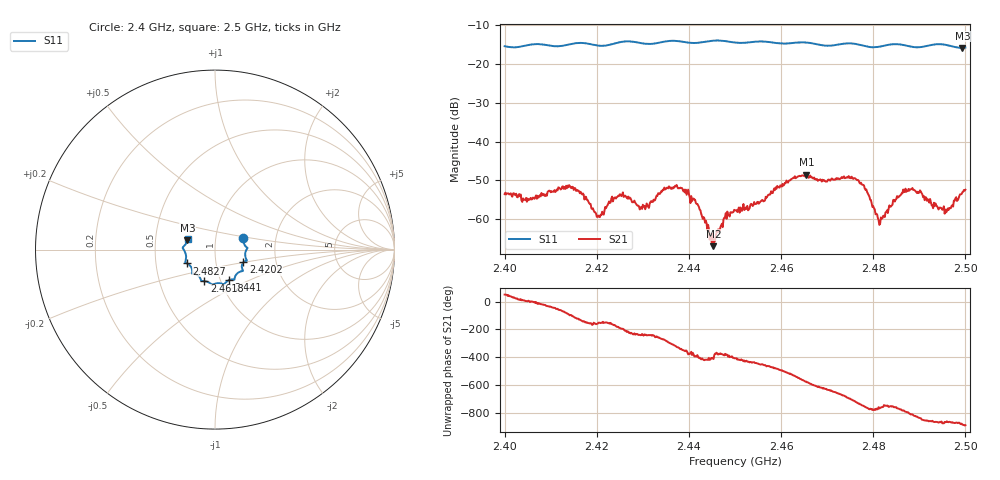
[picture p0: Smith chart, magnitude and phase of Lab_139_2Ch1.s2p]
# Hz S RI R
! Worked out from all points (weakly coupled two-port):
!   601 points, 2.4 GHz to 2.5 GHz, reference 50 ohm
!   highest |S21| = -48.58 dB at 2.4655 GHz (marker M1); lowest = -67.0 dB at 2.4453 GHz (marker M2)
!   lowest |S11| = -15.8 dB at 2.4993 GHz (marker M3), VSWR 1.39, Z = 36.5 + j3.84 ohm
!   |S11| at or under -10 dB: start of sweep to end of sweep
!   S12 and S22 are empty: the file has one direction only
!   S11 on the Smith chart (normalised r, x): 2.4 GHz: 1.36, +0.18; 2.4202 GHz: 1.36, -0.20; 2.441 GHz: 1.10, -0.39; 2.4618 GHz: 0.84, -0.30; 2.4827 GHz: 0.72, -0.11; 2.5 GHz: 0.73, +0.09
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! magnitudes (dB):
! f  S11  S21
! 2.4 GHz  -15.4  -53.6
! 2.4167 GHz  -14.5  -53.4
! 2.4202 GHz  -15.2  -59.4
! 2.4252 GHz  -14.3  -53.7
! 2.4297 GHz  -14.6  -56.9
! 2.4333 GHz  -14.5  -53.3
! 2.4375 GHz  -14.1  -51.8
! 2.441 GHz  -14.6  -54.7
! 2.4453 GHz  -13.9  -67.0
! 2.448 GHz  -14.1  -58.5
! 2.45 GHz  -14.4  -57.7
! 2.4618 GHz  -14.6  -50.0
! 2.4655 GHz  -14.4  -48.6
! 2.4667 GHz  -14.6  -49.2
! 2.4763 GHz  -14.8  -49.8
! 2.481 GHz  -15.6  -59.7
! 2.4827 GHz  -15.2  -58.3
! 2.4833 GHz  -15.0  -57.3
! 2.4882 GHz  -15.5  -52.3
! 2.496 GHz  -15.1  -57.9
! 2.4993 GHz  -15.8  -53.1
! 2.5 GHz  -15.7  -52.4
